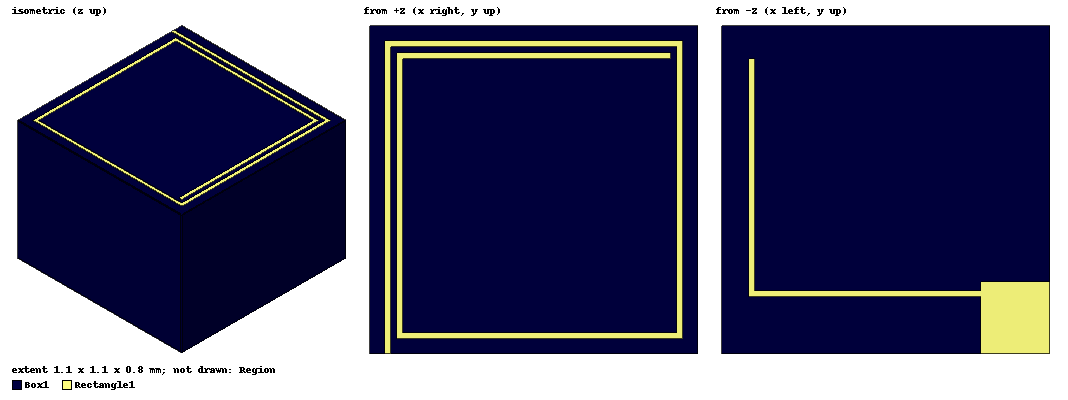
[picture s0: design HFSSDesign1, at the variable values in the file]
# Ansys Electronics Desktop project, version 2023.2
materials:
  vacuum: permittivity=1
  air: permittivity=1.0006 permeability=1.0000004
  FR4_epoxy: permittivity=4.4 dielectric_loss_tangent=0.02

design HFSSDesign1 (HFSS, HFSS Terminal Network, model units mm)
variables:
  w = 0.02mm
  Dout = 1mm
  s = 0.8mm
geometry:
  Rectangle1 = rectangle(corner=(0mm, 0mm, 0mm), x_size=w, y_size=Dout)
  Rectangle2 = rectangle(corner=(0mm, 1mm, 0mm), x_size=Dout, y_size=-w)
  Rectangle3 = rectangle(corner=(1mm, 1mm, 0mm), x_size=-0.02mm, y_size=-Dout)
  Rectangle5 = rectangle(corner=(1mm, 0mm, 0mm), x_size=-0.96mm, y_size=0.02mm)
  Rectangle6 = rectangle(corner=(0.04mm, 0.02mm, 0mm), x_size=0.02mm, y_size=0.94mm)
  Rectangle7 = rectangle(corner=(0.06mm, 0.94mm, 0mm), x_size=0.9mm, y_size=0.02mm)
  Rectangle1.unite(Rectangle2, Rectangle3, Rectangle5, Rectangle6, Rectangle7)
  Box1 [FR4_epoxy] = box(corner=(-0.05mm, -0.05mm, 0mm), size=(1.1mm, 1.1mm, -s))
  Rectangle8 = rectangle(corner=(0mm, 0mm, 0mm), x_size=0.02mm, y_size=-0.05mm)
  Rectangle9 = rectangle(corner=(0mm, -0.05mm, 0mm), z_size=-0.8mm, x_size=0.02mm)
  Rectangle10 = rectangle(corner=(0.96mm, 0.94mm, 0mm), z_size=-0.8mm, x_size=-w)
  Rectangle11 = rectangle(corner=(0.94mm, 0.94mm, -0.8mm), x_size=0.02mm, y_size=-0.78mm)
  Rectangle12 = rectangle(corner=(0.96mm, 0.16mm, -0.8mm), x_size=-0.78mm, y_size=-w)
  Rectangle14 = rectangle(corner=(-0.05mm, -0.05mm, -0.8mm), x_size=0.23mm, y_size=0.24mm)
  Rectangle14.unite(Rectangle12, Rectangle11, Rectangle10)
  Rectangle1.unite(Rectangle8)
  Rectangle1.unite(Rectangle14)
  Region [air] = region(percentage_offset=34.58 on all sides)
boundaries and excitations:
  PerfE1: Perfect E Objects=Rectangle1
  Rad1: Radiation Objects=Region
  1: Lumped Port Objects=Rectangle9 LumpedPortType=Modal Modes{Mode1{IntLine{(0.01, -0.05, -0.8) -> (0.01, -0.05, 0)} CharImp=Zpi RenormImp=50ohm}} Impedance=50ohm
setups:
  Setup1: HfssDriven Frequency=0.868GHz MaxDeltaS=0.02 MaximumPasses=20 MinimumPasses=1 MinimumConvergedPasses=1 PercentRefinement=30 BasisOrder=1 PortAccuracy=2 DrivenSolverType="Direct Solver"
    sweep Sweep: 0.434GHz to 5GHz, 401 points; Type=Interpolating InterpTolerance=0.5 InterpMaxSolns=250 PassivityErrorTolerance=0.0001
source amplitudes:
  1:1: 1V 0deg
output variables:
  L1 = -1*10^9/(2*3.14*868000000*im(Yt(1,1)))
  L2 = (-1*10^9)/(2*3.14*868000000*im(Yt(1,1)))
